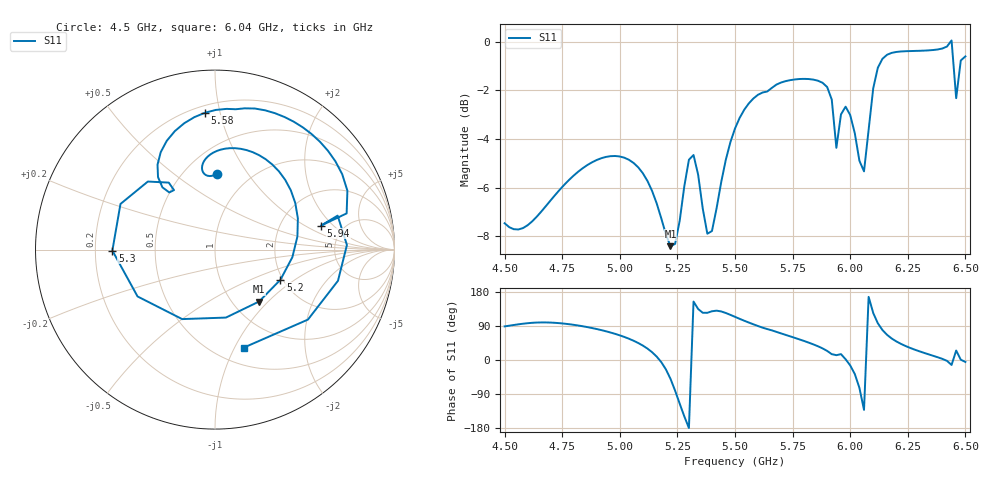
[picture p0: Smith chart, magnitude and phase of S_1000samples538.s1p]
! TOUCHSTONE file generated by CST MICROWAVE STUDIO
! Date and time: Fri Oct 28 12:33:22 2022
! Project name: L.cst
! Parameters = {Di=1.27; Epsilon_r=1.56; InnerDiameter=1.27; Length=2; Lf=10; Lg=60; OuterConductorThickness=0.2921; OuterDiameter=3.6; Wf=3; Wp=41.2; de=1.5; df=6.8; g=0.8; gx=0.708265; gy=3.72802; h=2.34; hf=1.524; px=13.4867; py=9.18656; w=9.7; wx=12.7785; wy=5.45854}
! Header version: 2018
! Port assignment regex: !\s*Touchstone port\s*([0-9]+)\s*=\s*(CST MWS port|CST DS port)\s*([0-9]+|Zmin|Zmax)\s*\(\"(.*)\"\)(\s*mode\s*([0-9]+))?.*
! Touchstone port assignment:
! Touchstone port 1 = CST MWS port 1 ("")
# GHz S DB R 50
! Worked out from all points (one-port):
!   101 points, 4.5 GHz to 6.5 GHz, reference 50 ohm
!   lowest |S11| = -8.4 dB at 5.22 GHz (marker M1), VSWR 2.22, Z = 65.6 - j44.3 ohm
!   |S11| at or under -10 dB: nowhere
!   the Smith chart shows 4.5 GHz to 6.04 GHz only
!   S11 on the Smith chart (normalised r, x): 4.5 GHz: 0.71, +0.73; 5.2 GHz: 1.94, -0.78; 5.3 GHz: 0.27, -0.00; 5.58 GHz: 0.24, +0.90; 5.94 GHz: 3.41, +1.44; 6.04 GHz: 0.68, -1.09
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4.5  -7.47 88.7
4.76  -5.88 95.9
5  -4.72 65.0
5.1  -5.41 38.0
5.2  -7.93 -24.7
5.22  -8.42 -49.7
5.26  -7.37 -115.3
5.3  -4.85 -179.4
5.34  -5.47 134.6
5.4  -7.79 128.6
5.5  -3.57 113.9
5.58  -2.33 94.1
5.76  -1.55 58.3
5.9  -1.86 24.0
5.94  -4.36 12.7
5.96  -2.99 15.5
6  -3.01 -14.2
6.04  -4.90 -73.6
6.06  -5.33 -131.6
6.08  -3.62 166.7
6.1  -1.91 123.9
6.12  -1.06 96.9
6.18  -0.45 56.8
6.26  -0.38 31.9
6.4  -0.27 3.0
6.44  0.06 -13.1
6.46  -2.32 25.0
6.5  -0.60 -5.1
